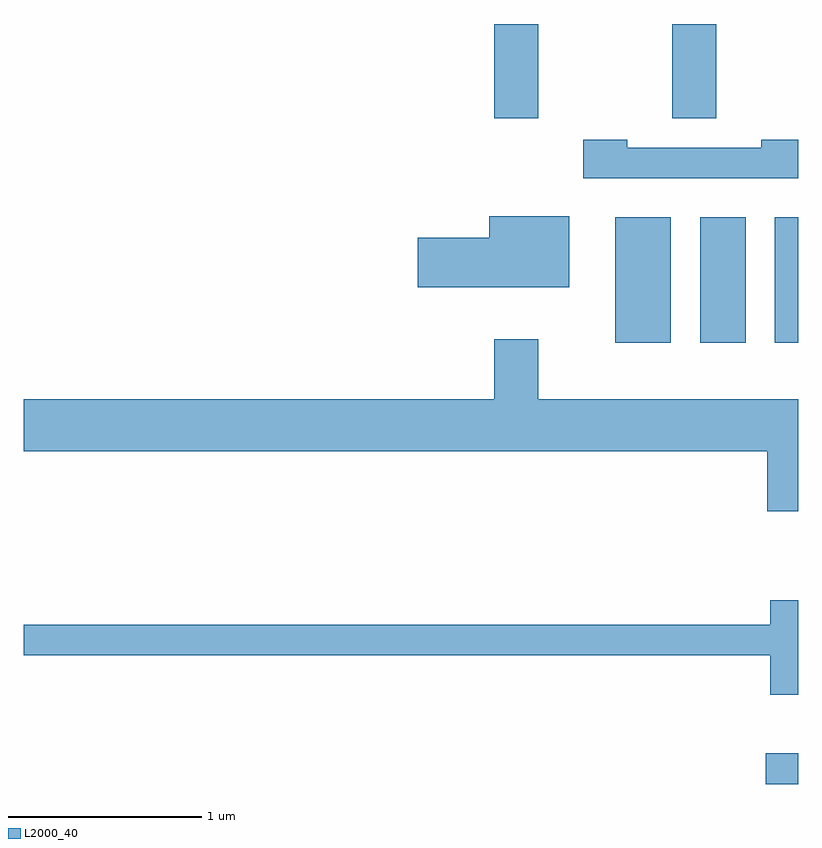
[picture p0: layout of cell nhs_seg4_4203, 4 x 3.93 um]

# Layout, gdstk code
import gdstk
lib = gdstk.Library(unit=1e-6, precision=1e-09)
def R(c, l, rs):  # rectangles x0, y0, x1, y1
    for r in rs: c.add(gdstk.rectangle(r[:2], r[2:], *l))
def P(c, l, *ps):  # polygons
    for p in ps: c.add(gdstk.Polygon(p, *l))
L2000_40 = (2000, 40)

nhs_seg4_4203 = lib.new_cell('nhs_seg4_4203')
R(nhs_seg4_4203, L2000_40, [(311.443,1364.056,311.611,1364.214), (310.666,1366.336,310.954,1366.984), (311.106,1366.336,311.339,1366.984), (311.491,1366.336,311.611,1366.984), (310.041,1367.496,310.269,1367.982), (310.961,1367.496,311.189,1367.982)])
P(nhs_seg4_4203, L2000_40, [(311.611,1367.384),(311.421,1367.384),(311.421,1367.344),(310.729,1367.344),(310.729,1367.384),(310.501,1367.384),(310.501,1367.186),(311.611,1367.186)],
  [(310.429,1366.989),(310.016,1366.989),(310.016,1366.879),(309.646,1366.879),(309.646,1366.621),(310.429,1366.621)],
  [(311.611,1366.044),(310.269,1366.044),(310.269,1366.354),(310.041,1366.354),(310.041,1366.044),(307.611,1366.044),(307.611,1365.776),(311.451,1365.776),(311.451,1365.466),(311.611,1365.466)],
  [(311.611,1365.004),(311.466,1365.004),(311.466,1364.879),(307.611,1364.879),(307.611,1364.721),(311.466,1364.721),(311.466,1364.516),(311.611,1364.516)])

lib.write_gds('nhs_seg4_4203.gds')
